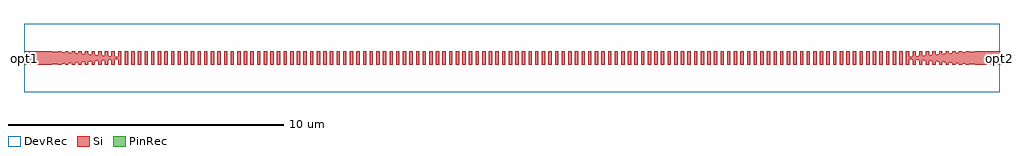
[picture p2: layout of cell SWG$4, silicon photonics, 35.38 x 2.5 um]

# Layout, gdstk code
import gdstk
lib = gdstk.Library(unit=1e-6, precision=1e-09)
def R(c, l, rs):  # rectangles x0, y0, x1, y1
    for r in rs: c.add(gdstk.rectangle(r[:2], r[2:], *l))
def P(c, l, *ps):  # polygons
    for p in ps: c.add(gdstk.Polygon(p, *l))
Si = (1, 0)
PinRec = (1, 10)
DevRec = (68, 0)

n1_grating_7 = lib.new_cell('n1$grating$7')
R(n1_grating_7, Si, [(1.68,-0.25,1.8,0.25)])

n2_grating_13 = lib.new_cell('n2$grating$13')
R(n2_grating_13, Si, [(5.52,-0.25,5.64,0.25)])

n2_grating_29 = lib.new_cell('n2$grating$29')
R(n2_grating_29, Si, [(9.36,-0.25,9.48,0.25)])

n2_grating_45 = lib.new_cell('n2$grating$45')
R(n2_grating_45, Si, [(13.2,-0.25,13.32,0.25)])

n1_grating_42 = lib.new_cell('n1$grating$42')
R(n1_grating_42, Si, [(31.68,-0.25,31.8,0.25)])

n2_grating_91 = lib.new_cell('n2$grating$91')
R(n2_grating_91, Si, [(24.24,-0.25,24.36,0.25)])

n2_grating_75 = lib.new_cell('n2$grating$75')
R(n2_grating_75, Si, [(20.4,-0.25,20.52,0.25)])

n2_grating_107 = lib.new_cell('n2$grating$107')
R(n2_grating_107, Si, [(28.08,-0.25,28.2,0.25)])

n1_grating_3 = lib.new_cell('n1$grating$3')
R(n1_grating_3, Si, [(0.72,-0.25,0.84,0.25)])

n2_grating_25 = lib.new_cell('n2$grating$25')
R(n2_grating_25, Si, [(8.4,-0.25,8.52,0.25)])

n2_grating_9 = lib.new_cell('n2$grating$9')
R(n2_grating_9, Si, [(4.56,-0.25,4.68,0.25)])

n2_grating_41 = lib.new_cell('n2$grating$41')
R(n2_grating_41, Si, [(12.24,-0.25,12.36,0.25)])

n2_grating_87 = lib.new_cell('n2$grating$87')
R(n2_grating_87, Si, [(23.28,-0.25,23.4,0.25)])

n2_grating_103 = lib.new_cell('n2$grating$103')
R(n2_grating_103, Si, [(27.12,-0.25,27.24,0.25)])

n2_grating_71 = lib.new_cell('n2$grating$71')
R(n2_grating_71, Si, [(19.44,-0.25,19.56,0.25)])

taper2 = lib.new_cell('taper2')
P(taper2, Si, [(33.48,-0.25),(30.96,-0.05),(30.96,0.05),(33.48,0.25)])

n2_grating_57 = lib.new_cell('n2$grating$57')
R(n2_grating_57, Si, [(16.08,-0.25,16.2,0.25)])

n2_grating_34 = lib.new_cell('n2$grating$34')
R(n2_grating_34, Si, [(10.56,-0.25,10.68,0.25)])

n2_grating_18 = lib.new_cell('n2$grating$18')
R(n2_grating_18, Si, [(6.72,-0.25,6.84,0.25)])

n2_grating_2 = lib.new_cell('n2$grating$2')
R(n2_grating_2, Si, [(2.88,-0.25,3,0.25)])

n2_grating_50 = lib.new_cell('n2$grating$50')
R(n2_grating_50, Si, [(14.4,-0.25,14.52,0.25)])

n2_grating_112 = lib.new_cell('n2$grating$112')
R(n2_grating_112, Si, [(29.28,-0.25,29.4,0.25)])

n2_grating_96 = lib.new_cell('n2$grating$96')
R(n2_grating_96, Si, [(25.44,-0.25,25.56,0.25)])

n1_grating_92 = lib.new_cell('n1$grating$92')
R(n1_grating_92, Si, [(32.88,-0.25,33,0.25)])

n2_grating_64 = lib.new_cell('n2$grating$64')
R(n2_grating_64, Si, [(17.76,-0.25,17.88,0.25)])

n2_grating_80 = lib.new_cell('n2$grating$80')
R(n2_grating_80, Si, [(21.6,-0.25,21.72,0.25)])

n2_grating_19 = lib.new_cell('n2$grating$19')
R(n2_grating_19, Si, [(6.96,-0.25,7.08,0.25)])

n2_grating_35 = lib.new_cell('n2$grating$35')
R(n2_grating_35, Si, [(10.8,-0.25,10.92,0.25)])

n2_grating_65 = lib.new_cell('n2$grating$65')
R(n2_grating_65, Si, [(18,-0.25,18.12,0.25)])

n2_grating_113 = lib.new_cell('n2$grating$113')
R(n2_grating_113, Si, [(29.52,-0.25,29.64,0.25)])

n2_grating_81 = lib.new_cell('n2$grating$81')
R(n2_grating_81, Si, [(21.84,-0.25,21.96,0.25)])

n2_grating_97 = lib.new_cell('n2$grating$97')
R(n2_grating_97, Si, [(25.68,-0.25,25.8,0.25)])

n1_grating_102 = lib.new_cell('n1$grating$102')
R(n1_grating_102, Si, [(33.12,-0.25,33.24,0.25)])

n2_grating_3 = lib.new_cell('n2$grating$3')
R(n2_grating_3, Si, [(3.12,-0.25,3.24,0.25)])

n2_grating_51 = lib.new_cell('n2$grating$51')
R(n2_grating_51, Si, [(14.64,-0.25,14.76,0.25)])

n2_grating_110 = lib.new_cell('n2$grating$110')
R(n2_grating_110, Si, [(28.8,-0.25,28.92,0.25)])

n1_grating_72 = lib.new_cell('n1$grating$72')
R(n1_grating_72, Si, [(32.4,-0.25,32.52,0.25)])

n2_grating_78 = lib.new_cell('n2$grating$78')
R(n2_grating_78, Si, [(21.12,-0.25,21.24,0.25)])

n2_grating_62 = lib.new_cell('n2$grating$62')
R(n2_grating_62, Si, [(17.28,-0.25,17.4,0.25)])

n2_grating_94 = lib.new_cell('n2$grating$94')
R(n2_grating_94, Si, [(24.96,-0.25,25.08,0.25)])

n2_grating_32 = lib.new_cell('n2$grating$32')
R(n2_grating_32, Si, [(10.08,-0.25,10.2,0.25)])

n2_grating_48 = lib.new_cell('n2$grating$48')
R(n2_grating_48, Si, [(13.92,-0.25,14.04,0.25)])

n2_grating_16 = lib.new_cell('n2$grating$16')
R(n2_grating_16, Si, [(6.24,-0.25,6.36,0.25)])

n1_grating_10 = lib.new_cell('n1$grating$10')
R(n1_grating_10, Si, [(2.4,-0.25,2.52,0.25)])

n2_grating_69 = lib.new_cell('n2$grating$69')
R(n2_grating_69, Si, [(18.96,-0.25,19.08,0.25)])

n2_grating_101 = lib.new_cell('n2$grating$101')
R(n2_grating_101, Si, [(26.64,-0.25,26.76,0.25)])

n2_grating_85 = lib.new_cell('n2$grating$85')
R(n2_grating_85, Si, [(22.8,-0.25,22.92,0.25)])

n2_grating_117 = lib.new_cell('n2$grating$117')
R(n2_grating_117, Si, [(30.48,-0.25,30.6,0.25)])

n2_grating_23 = lib.new_cell('n2$grating$23')
R(n2_grating_23, Si, [(7.92,-0.25,8.04,0.25)])

n2_grating_7 = lib.new_cell('n2$grating$7')
R(n2_grating_7, Si, [(4.08,-0.25,4.2,0.25)])

n2_grating_39 = lib.new_cell('n2$grating$39')
R(n2_grating_39, Si, [(11.76,-0.25,11.88,0.25)])

n2_grating_55 = lib.new_cell('n2$grating$55')
R(n2_grating_55, Si, [(15.6,-0.25,15.72,0.25)])

n1_grating_1 = lib.new_cell('n1$grating$1')
R(n1_grating_1, Si, [(0.24,-0.25,0.36,0.25)])

n2_grating_88 = lib.new_cell('n2$grating$88')
R(n2_grating_88, Si, [(23.52,-0.25,23.64,0.25)])

n2_grating_72 = lib.new_cell('n2$grating$72')
R(n2_grating_72, Si, [(19.68,-0.25,19.8,0.25)])

n2_grating_104 = lib.new_cell('n2$grating$104')
R(n2_grating_104, Si, [(27.36,-0.25,27.48,0.25)])

n1_grating_12 = lib.new_cell('n1$grating$12')
R(n1_grating_12, Si, [(30.96,-0.25,31.08,0.25)])

n2_grating_10 = lib.new_cell('n2$grating$10')
R(n2_grating_10, Si, [(4.8,-0.25,4.92,0.25)])

n2_grating_58 = lib.new_cell('n2$grating$58')
R(n2_grating_58, Si, [(16.32,-0.25,16.44,0.25)])

n2_grating_26 = lib.new_cell('n2$grating$26')
R(n2_grating_26, Si, [(8.64,-0.25,8.76,0.25)])

n2_grating_42 = lib.new_cell('n2$grating$42')
R(n2_grating_42, Si, [(12.48,-0.25,12.6,0.25)])

n1_grating_4 = lib.new_cell('n1$grating$4')
R(n1_grating_4, Si, [(0.96,-0.25,1.08,0.25)])

n2_grating_63 = lib.new_cell('n2$grating$63')
R(n2_grating_63, Si, [(17.52,-0.25,17.64,0.25)])

n2_grating_79 = lib.new_cell('n2$grating$79')
R(n2_grating_79, Si, [(21.36,-0.25,21.48,0.25)])

n2_grating_111 = lib.new_cell('n2$grating$111')
R(n2_grating_111, Si, [(29.04,-0.25,29.16,0.25)])

n2_grating_95 = lib.new_cell('n2$grating$95')
R(n2_grating_95, Si, [(25.2,-0.25,25.32,0.25)])

n1_grating_82 = lib.new_cell('n1$grating$82')
R(n1_grating_82, Si, [(32.64,-0.25,32.76,0.25)])

n2_grating_17 = lib.new_cell('n2$grating$17')
R(n2_grating_17, Si, [(6.48,-0.25,6.6,0.25)])

n2_grating_1 = lib.new_cell('n2$grating$1')
R(n2_grating_1, Si, [(2.64,-0.25,2.76,0.25)])

n2_grating_49 = lib.new_cell('n2$grating$49')
R(n2_grating_49, Si, [(14.16,-0.25,14.28,0.25)])

n2_grating_33 = lib.new_cell('n2$grating$33')
R(n2_grating_33, Si, [(10.32,-0.25,10.44,0.25)])

n2_grating_67 = lib.new_cell('n2$grating$67')
R(n2_grating_67, Si, [(18.48,-0.25,18.6,0.25)])

n2_grating_99 = lib.new_cell('n2$grating$99')
R(n2_grating_99, Si, [(26.16,-0.25,26.28,0.25)])

n2_grating_83 = lib.new_cell('n2$grating$83')
R(n2_grating_83, Si, [(22.32,-0.25,22.44,0.25)])

n2_grating_115 = lib.new_cell('n2$grating$115')
R(n2_grating_115, Si, [(30,-0.25,30.12,0.25)])

n2_grating_37 = lib.new_cell('n2$grating$37')
R(n2_grating_37, Si, [(11.28,-0.25,11.4,0.25)])

n2_grating_21 = lib.new_cell('n2$grating$21')
R(n2_grating_21, Si, [(7.44,-0.25,7.56,0.25)])

n2_grating_5 = lib.new_cell('n2$grating$5')
R(n2_grating_5, Si, [(3.6,-0.25,3.72,0.25)])

input = lib.new_cell('input')
R(input, Si, [(-1,-0.25,0,0.25)])

n2_grating_53 = lib.new_cell('n2$grating$53')
R(n2_grating_53, Si, [(15.12,-0.25,15.24,0.25)])

n2_grating_68 = lib.new_cell('n2$grating$68')
R(n2_grating_68, Si, [(18.72,-0.25,18.84,0.25)])

n2_grating_100 = lib.new_cell('n2$grating$100')
R(n2_grating_100, Si, [(26.4,-0.25,26.52,0.25)])

n2_grating_84 = lib.new_cell('n2$grating$84')
R(n2_grating_84, Si, [(22.56,-0.25,22.68,0.25)])

n2_grating_116 = lib.new_cell('n2$grating$116')
R(n2_grating_116, Si, [(30.24,-0.25,30.36,0.25)])

n2_grating_22 = lib.new_cell('n2$grating$22')
R(n2_grating_22, Si, [(7.68,-0.25,7.8,0.25)])

n2_grating_6 = lib.new_cell('n2$grating$6')
R(n2_grating_6, Si, [(3.84,-0.25,3.96,0.25)])

n2_grating_54 = lib.new_cell('n2$grating$54')
R(n2_grating_54, Si, [(15.36,-0.25,15.48,0.25)])

n2_grating_38 = lib.new_cell('n2$grating$38')
R(n2_grating_38, Si, [(11.52,-0.25,11.64,0.25)])

taper = lib.new_cell('taper')
P(taper, Si, [(0,-0.25),(0,0.25),(2.52,0.05),(2.52,-0.05)])

n1_grating_62 = lib.new_cell('n1$grating$62')
R(n1_grating_62, Si, [(32.16,-0.25,32.28,0.25)])

n2_grating_77 = lib.new_cell('n2$grating$77')
R(n2_grating_77, Si, [(20.88,-0.25,21,0.25)])

n2_grating_61 = lib.new_cell('n2$grating$61')
R(n2_grating_61, Si, [(17.04,-0.25,17.16,0.25)])

n2_grating_93 = lib.new_cell('n2$grating$93')
R(n2_grating_93, Si, [(24.72,-0.25,24.84,0.25)])

n2_grating_109 = lib.new_cell('n2$grating$109')
R(n2_grating_109, Si, [(28.56,-0.25,28.68,0.25)])

n2_grating_47 = lib.new_cell('n2$grating$47')
R(n2_grating_47, Si, [(13.68,-0.25,13.8,0.25)])

n2_grating_15 = lib.new_cell('n2$grating$15')
R(n2_grating_15, Si, [(6,-0.25,6.12,0.25)])

n2_grating_31 = lib.new_cell('n2$grating$31')
R(n2_grating_31, Si, [(9.84,-0.25,9.96,0.25)])

n1_grating_9 = lib.new_cell('n1$grating$9')
R(n1_grating_9, Si, [(2.16,-0.25,2.28,0.25)])

output = lib.new_cell('Output')
R(output, Si, [(33.48,-0.25,34.36,0.25)])

n2_grating_66 = lib.new_cell('n2$grating$66')
R(n2_grating_66, Si, [(18.24,-0.25,18.36,0.25)])

n2_grating_98 = lib.new_cell('n2$grating$98')
R(n2_grating_98, Si, [(25.92,-0.25,26.04,0.25)])

n2_grating_82 = lib.new_cell('n2$grating$82')
R(n2_grating_82, Si, [(22.08,-0.25,22.2,0.25)])

n2_grating_114 = lib.new_cell('n2$grating$114')
R(n2_grating_114, Si, [(29.76,-0.25,29.88,0.25)])

n2_grating_4 = lib.new_cell('n2$grating$4')
R(n2_grating_4, Si, [(3.36,-0.25,3.48,0.25)])

n2_grating_20 = lib.new_cell('n2$grating$20')
R(n2_grating_20, Si, [(7.2,-0.25,7.32,0.25)])

n2_grating_36 = lib.new_cell('n2$grating$36')
R(n2_grating_36, Si, [(11.04,-0.25,11.16,0.25)])

n2_grating_52 = lib.new_cell('n2$grating$52')
R(n2_grating_52, Si, [(14.88,-0.25,15,0.25)])

n1_grating_32 = lib.new_cell('n1$grating$32')
R(n1_grating_32, Si, [(31.44,-0.25,31.56,0.25)])

n2_grating_12 = lib.new_cell('n2$grating$12')
R(n2_grating_12, Si, [(5.28,-0.25,5.4,0.25)])

n2_grating_44 = lib.new_cell('n2$grating$44')
R(n2_grating_44, Si, [(12.96,-0.25,13.08,0.25)])

n2_grating_28 = lib.new_cell('n2$grating$28')
R(n2_grating_28, Si, [(9.12,-0.25,9.24,0.25)])

n2_grating_90 = lib.new_cell('n2$grating$90')
R(n2_grating_90, Si, [(24,-0.25,24.12,0.25)])

n2_grating_74 = lib.new_cell('n2$grating$74')
R(n2_grating_74, Si, [(20.16,-0.25,20.28,0.25)])

n2_grating_106 = lib.new_cell('n2$grating$106')
R(n2_grating_106, Si, [(27.84,-0.25,27.96,0.25)])

n1_grating_6 = lib.new_cell('n1$grating$6')
R(n1_grating_6, Si, [(1.44,-0.25,1.56,0.25)])

n2_grating_14 = lib.new_cell('n2$grating$14')
R(n2_grating_14, Si, [(5.76,-0.25,5.88,0.25)])

n2_grating_46 = lib.new_cell('n2$grating$46')
R(n2_grating_46, Si, [(13.44,-0.25,13.56,0.25)])

n2_grating_30 = lib.new_cell('n2$grating$30')
R(n2_grating_30, Si, [(9.6,-0.25,9.72,0.25)])

n2_grating_108 = lib.new_cell('n2$grating$108')
R(n2_grating_108, Si, [(28.32,-0.25,28.44,0.25)])

n1_grating_52 = lib.new_cell('n1$grating$52')
R(n1_grating_52, Si, [(31.92,-0.25,32.04,0.25)])

n2_grating_76 = lib.new_cell('n2$grating$76')
R(n2_grating_76, Si, [(20.64,-0.25,20.76,0.25)])

n2_grating_60 = lib.new_cell('n2$grating$60')
R(n2_grating_60, Si, [(16.8,-0.25,16.92,0.25)])

n2_grating_92 = lib.new_cell('n2$grating$92')
R(n2_grating_92, Si, [(24.48,-0.25,24.6,0.25)])

n1_grating_8 = lib.new_cell('n1$grating$8')
R(n1_grating_8, Si, [(1.92,-0.25,2.04,0.25)])

n1_grating_22 = lib.new_cell('n1$grating$22')
R(n1_grating_22, Si, [(31.2,-0.25,31.32,0.25)])

n2_grating_11 = lib.new_cell('n2$grating$11')
R(n2_grating_11, Si, [(5.04,-0.25,5.16,0.25)])

n2_grating_43 = lib.new_cell('n2$grating$43')
R(n2_grating_43, Si, [(12.72,-0.25,12.84,0.25)])

n2_grating_27 = lib.new_cell('n2$grating$27')
R(n2_grating_27, Si, [(8.88,-0.25,9,0.25)])

n2_grating_59 = lib.new_cell('n2$grating$59')
R(n2_grating_59, Si, [(16.56,-0.25,16.68,0.25)])

n2_grating_89 = lib.new_cell('n2$grating$89')
R(n2_grating_89, Si, [(23.76,-0.25,23.88,0.25)])

n2_grating_73 = lib.new_cell('n2$grating$73')
R(n2_grating_73, Si, [(19.92,-0.25,20.04,0.25)])

n2_grating_105 = lib.new_cell('n2$grating$105')
R(n2_grating_105, Si, [(27.6,-0.25,27.72,0.25)])

n1_grating_5 = lib.new_cell('n1$grating$5')
R(n1_grating_5, Si, [(1.2,-0.25,1.32,0.25)])

n2_grating_102 = lib.new_cell('n2$grating$102')
R(n2_grating_102, Si, [(26.88,-0.25,27,0.25)])

n2_grating_70 = lib.new_cell('n2$grating$70')
R(n2_grating_70, Si, [(19.2,-0.25,19.32,0.25)])

n2_grating_8 = lib.new_cell('n2$grating$8')
R(n2_grating_8, Si, [(4.32,-0.25,4.44,0.25)])

n2_grating_24 = lib.new_cell('n2$grating$24')
R(n2_grating_24, Si, [(8.16,-0.25,8.28,0.25)])

n2_grating_86 = lib.new_cell('n2$grating$86')
R(n2_grating_86, Si, [(23.04,-0.25,23.16,0.25)])

n2_grating_118 = lib.new_cell('n2$grating$118')
R(n2_grating_118, Si, [(30.72,-0.25,30.84,0.25)])

n2_grating_56 = lib.new_cell('n2$grating$56')
R(n2_grating_56, Si, [(15.84,-0.25,15.96,0.25)])

n2_grating_40 = lib.new_cell('n2$grating$40')
R(n2_grating_40, Si, [(12,-0.25,12.12,0.25)])

n1_grating_2 = lib.new_cell('n1$grating$2')
R(n1_grating_2, Si, [(0.48,-0.25,0.6,0.25)])

swg_4 = lib.new_cell('SWG$4')
R(swg_4, DevRec, [(-1,-1.25,34.36,1.25)])
swg_4.add(gdstk.FlexPath([(34.35,0),(34.37,0)], 0.5, ends="flush", simple_path=True, layer=1, datatype=10))  # PinRec
swg_4.add(gdstk.FlexPath([(-0.99,0),(-1.01,0)], 0.5, ends="flush", simple_path=True, layer=1, datatype=10))  # PinRec
swg_4.add(gdstk.Reference(n1_grating_7, (0,0)))
swg_4.add(gdstk.Reference(n2_grating_13, (0,0)))
swg_4.add(gdstk.Reference(n2_grating_29, (0,0)))
swg_4.add(gdstk.Reference(n2_grating_45, (0,0)))
swg_4.add(gdstk.Reference(n1_grating_42, (0,0)))
swg_4.add(gdstk.Reference(n2_grating_91, (0,0)))
swg_4.add(gdstk.Reference(n2_grating_75, (0,0)))
swg_4.add(gdstk.Reference(n2_grating_107, (0,0)))
swg_4.add(gdstk.Reference(n1_grating_3, (0,0)))
swg_4.add(gdstk.Reference(n2_grating_25, (0,0)))
swg_4.add(gdstk.Reference(n2_grating_9, (0,0)))
swg_4.add(gdstk.Reference(n2_grating_41, (0,0)))
swg_4.add(gdstk.Reference(n2_grating_87, (0,0)))
swg_4.add(gdstk.Reference(n2_grating_103, (0,0)))
swg_4.add(gdstk.Reference(n2_grating_71, (0,0)))
swg_4.add(gdstk.Reference(taper2, (0,0)))
swg_4.add(gdstk.Reference(n2_grating_57, (0,0)))
swg_4.add(gdstk.Reference(n2_grating_34, (0,0)))
swg_4.add(gdstk.Reference(n2_grating_18, (0,0)))
swg_4.add(gdstk.Reference(n2_grating_2, (0,0)))
swg_4.add(gdstk.Reference(n2_grating_50, (0,0)))
swg_4.add(gdstk.Reference(n2_grating_112, (0,0)))
swg_4.add(gdstk.Reference(n2_grating_96, (0,0)))
swg_4.add(gdstk.Reference(n1_grating_92, (0,0)))
swg_4.add(gdstk.Reference(n2_grating_64, (0,0)))
swg_4.add(gdstk.Reference(n2_grating_80, (0,0)))
swg_4.add(gdstk.Reference(n2_grating_19, (0,0)))
swg_4.add(gdstk.Reference(n2_grating_35, (0,0)))
swg_4.add(gdstk.Reference(n2_grating_65, (0,0)))
swg_4.add(gdstk.Reference(n2_grating_113, (0,0)))
swg_4.add(gdstk.Reference(n2_grating_81, (0,0)))
swg_4.add(gdstk.Reference(n2_grating_97, (0,0)))
swg_4.add(gdstk.Reference(n1_grating_102, (0,0)))
swg_4.add(gdstk.Reference(n2_grating_3, (0,0)))
swg_4.add(gdstk.Reference(n2_grating_51, (0,0)))
swg_4.add(gdstk.Reference(n2_grating_110, (0,0)))
swg_4.add(gdstk.Reference(n1_grating_72, (0,0)))
swg_4.add(gdstk.Reference(n2_grating_78, (0,0)))
swg_4.add(gdstk.Reference(n2_grating_62, (0,0)))
swg_4.add(gdstk.Reference(n2_grating_94, (0,0)))
swg_4.add(gdstk.Reference(n2_grating_32, (0,0)))
swg_4.add(gdstk.Reference(n2_grating_48, (0,0)))
swg_4.add(gdstk.Reference(n2_grating_16, (0,0)))
swg_4.add(gdstk.Reference(n1_grating_10, (0,0)))
swg_4.add(gdstk.Reference(n2_grating_69, (0,0)))
swg_4.add(gdstk.Reference(n2_grating_101, (0,0)))
swg_4.add(gdstk.Reference(n2_grating_85, (0,0)))
swg_4.add(gdstk.Reference(n2_grating_117, (0,0)))
swg_4.add(gdstk.Reference(n2_grating_23, (0,0)))
swg_4.add(gdstk.Reference(n2_grating_7, (0,0)))
swg_4.add(gdstk.Reference(n2_grating_39, (0,0)))
swg_4.add(gdstk.Reference(n2_grating_55, (0,0)))
swg_4.add(gdstk.Reference(n1_grating_1, (0,0)))
swg_4.add(gdstk.Reference(n2_grating_88, (0,0)))
swg_4.add(gdstk.Reference(n2_grating_72, (0,0)))
swg_4.add(gdstk.Reference(n2_grating_104, (0,0)))
swg_4.add(gdstk.Reference(n1_grating_12, (0,0)))
swg_4.add(gdstk.Reference(n2_grating_10, (0,0)))
swg_4.add(gdstk.Reference(n2_grating_58, (0,0)))
swg_4.add(gdstk.Reference(n2_grating_26, (0,0)))
swg_4.add(gdstk.Reference(n2_grating_42, (0,0)))
swg_4.add(gdstk.Reference(n1_grating_4, (0,0)))
swg_4.add(gdstk.Reference(n2_grating_63, (0,0)))
swg_4.add(gdstk.Reference(n2_grating_79, (0,0)))
swg_4.add(gdstk.Reference(n2_grating_111, (0,0)))
swg_4.add(gdstk.Reference(n2_grating_95, (0,0)))
swg_4.add(gdstk.Reference(n1_grating_82, (0,0)))
swg_4.add(gdstk.Reference(n2_grating_17, (0,0)))
swg_4.add(gdstk.Reference(n2_grating_1, (0,0)))
swg_4.add(gdstk.Reference(n2_grating_49, (0,0)))
swg_4.add(gdstk.Reference(n2_grating_33, (0,0)))
swg_4.add(gdstk.Reference(n2_grating_67, (0,0)))
swg_4.add(gdstk.Reference(n2_grating_99, (0,0)))
swg_4.add(gdstk.Reference(n2_grating_83, (0,0)))
swg_4.add(gdstk.Reference(n2_grating_115, (0,0)))
swg_4.add(gdstk.Reference(n2_grating_37, (0,0)))
swg_4.add(gdstk.Reference(n2_grating_21, (0,0)))
swg_4.add(gdstk.Reference(n2_grating_5, (0,0)))
swg_4.add(gdstk.Reference(input, (0,0)))
swg_4.add(gdstk.Reference(n2_grating_53, (0,0)))
swg_4.add(gdstk.Reference(n2_grating_68, (0,0)))
swg_4.add(gdstk.Reference(n2_grating_100, (0,0)))
swg_4.add(gdstk.Reference(n2_grating_84, (0,0)))
swg_4.add(gdstk.Reference(n2_grating_116, (0,0)))
swg_4.add(gdstk.Reference(n2_grating_22, (0,0)))
swg_4.add(gdstk.Reference(n2_grating_6, (0,0)))
swg_4.add(gdstk.Reference(n2_grating_54, (0,0)))
swg_4.add(gdstk.Reference(n2_grating_38, (0,0)))
swg_4.add(gdstk.Reference(taper, (0,0)))
swg_4.add(gdstk.Reference(n1_grating_62, (0,0)))
swg_4.add(gdstk.Reference(n2_grating_77, (0,0)))
swg_4.add(gdstk.Reference(n2_grating_61, (0,0)))
swg_4.add(gdstk.Reference(n2_grating_93, (0,0)))
swg_4.add(gdstk.Reference(n2_grating_109, (0,0)))
swg_4.add(gdstk.Reference(n2_grating_47, (0,0)))
swg_4.add(gdstk.Reference(n2_grating_15, (0,0)))
swg_4.add(gdstk.Reference(n2_grating_31, (0,0)))
swg_4.add(gdstk.Reference(n1_grating_9, (0,0)))
swg_4.add(gdstk.Reference(output, (0,0)))
swg_4.add(gdstk.Reference(n2_grating_66, (0,0)))
swg_4.add(gdstk.Reference(n2_grating_98, (0,0)))
swg_4.add(gdstk.Reference(n2_grating_82, (0,0)))
swg_4.add(gdstk.Reference(n2_grating_114, (0,0)))
swg_4.add(gdstk.Reference(n2_grating_4, (0,0)))
swg_4.add(gdstk.Reference(n2_grating_20, (0,0)))
swg_4.add(gdstk.Reference(n2_grating_36, (0,0)))
swg_4.add(gdstk.Reference(n2_grating_52, (0,0)))
swg_4.add(gdstk.Reference(n1_grating_32, (0,0)))
swg_4.add(gdstk.Reference(n2_grating_12, (0,0)))
swg_4.add(gdstk.Reference(n2_grating_44, (0,0)))
swg_4.add(gdstk.Reference(n2_grating_28, (0,0)))
swg_4.add(gdstk.Reference(n2_grating_90, (0,0)))
swg_4.add(gdstk.Reference(n2_grating_74, (0,0)))
swg_4.add(gdstk.Reference(n2_grating_106, (0,0)))
swg_4.add(gdstk.Reference(n1_grating_6, (0,0)))
swg_4.add(gdstk.Reference(n2_grating_14, (0,0)))
swg_4.add(gdstk.Reference(n2_grating_46, (0,0)))
swg_4.add(gdstk.Reference(n2_grating_30, (0,0)))
swg_4.add(gdstk.Reference(n2_grating_108, (0,0)))
swg_4.add(gdstk.Reference(n1_grating_52, (0,0)))
swg_4.add(gdstk.Reference(n2_grating_76, (0,0)))
swg_4.add(gdstk.Reference(n2_grating_60, (0,0)))
swg_4.add(gdstk.Reference(n2_grating_92, (0,0)))
swg_4.add(gdstk.Reference(n1_grating_8, (0,0)))
swg_4.add(gdstk.Reference(n1_grating_22, (0,0)))
swg_4.add(gdstk.Reference(n2_grating_11, (0,0)))
swg_4.add(gdstk.Reference(n2_grating_43, (0,0)))
swg_4.add(gdstk.Reference(n2_grating_27, (0,0)))
swg_4.add(gdstk.Reference(n2_grating_59, (0,0)))
swg_4.add(gdstk.Reference(n2_grating_89, (0,0)))
swg_4.add(gdstk.Reference(n2_grating_73, (0,0)))
swg_4.add(gdstk.Reference(n2_grating_105, (0,0)))
swg_4.add(gdstk.Reference(n1_grating_5, (0,0)))
swg_4.add(gdstk.Reference(n2_grating_102, (0,0)))
swg_4.add(gdstk.Reference(n2_grating_70, (0,0)))
swg_4.add(gdstk.Reference(n2_grating_8, (0,0)))
swg_4.add(gdstk.Reference(n2_grating_24, (0,0)))
swg_4.add(gdstk.Reference(n2_grating_86, (0,0)))
swg_4.add(gdstk.Reference(n2_grating_118, (0,0)))
swg_4.add(gdstk.Reference(n2_grating_56, (0,0)))
swg_4.add(gdstk.Reference(n2_grating_40, (0,0)))
swg_4.add(gdstk.Reference(n1_grating_2, (0,0)))
swg_4.add(gdstk.Label('opt2', (34.36,0), layer=1, texttype=10))
swg_4.add(gdstk.Label('opt1', (-1,0), layer=1, texttype=10))

lib.write_gds('SWG_4.gds')
